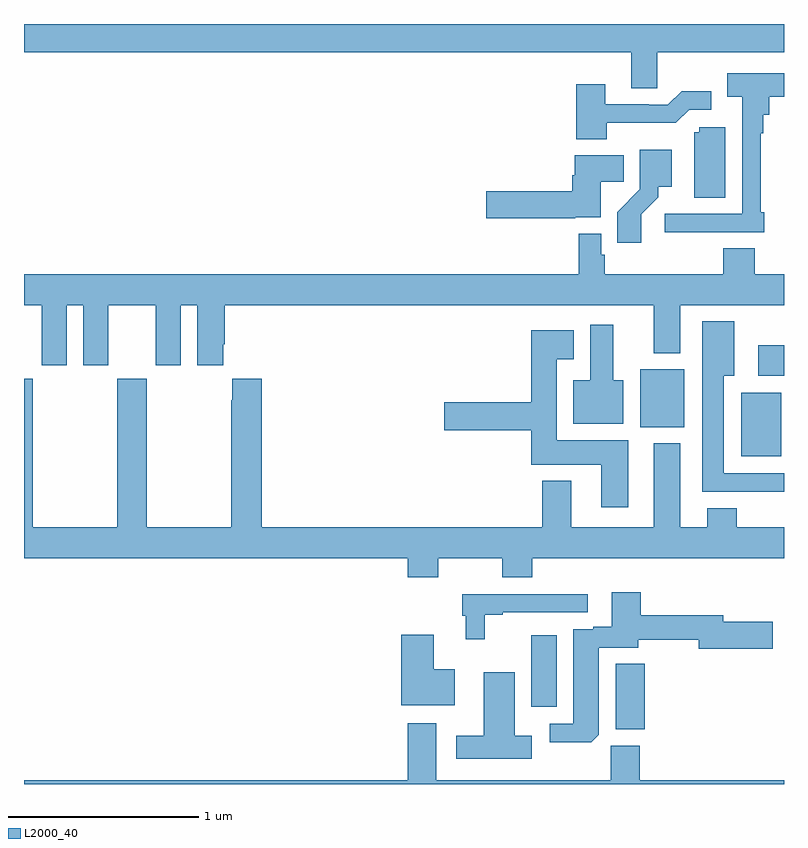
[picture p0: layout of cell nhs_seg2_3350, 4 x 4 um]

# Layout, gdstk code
import gdstk
lib = gdstk.Library(unit=1e-6, precision=1e-09)
def R(c, l, rs):  # rectangles x0, y0, x1, y1
    for r in rs: c.add(gdstk.rectangle(r[:2], r[2:], *l))
def P(c, l, *ps):  # polygons
    for p in ps: c.add(gdstk.Polygon(p, *l))
L2000_40 = (2000, 40)

nhs_seg2_3350 = lib.new_cell('nhs_seg2_3350')
R(nhs_seg2_3350, L2000_40, [(290.114,628.087,290.267,628.433), (289.67,628.206,289.804,628.582), (290.774,629.525,290.986,629.86), (290.243,629.678,290.476,629.983), (290.865,629.949,291,630.109)])
P(nhs_seg2_3350, L2000_40, [(290.334,631.652),(291,631.652),(291,631.8),(287,631.8),(287,631.652),(290.195,631.652),(290.195,631.462),(290.334,631.462)],
  [(290.597,630.705),(290.897,630.705),(290.897,630.808),(290.877,630.808),(290.877,631.226),(290.89,631.226),(290.89,631.322),(290.922,631.322),(290.922,631.418),(291,631.418),(291,631.54),(290.701,631.54),(290.701,631.418),(290.781,631.418),(290.781,630.801),(290.373,630.801),(290.373,630.703),(290.597,630.703)],
  [(290.067,631.28),(290.431,631.28),(290.502,631.35),(290.616,631.35),(290.616,631.447),(290.461,631.447),(290.388,631.374),(290.288,631.374),(290.288,631.377),(290.059,631.377),(290.059,631.483),(289.907,631.483),(289.907,631.193),(290.067,631.193)],
  [(290.692,631.257),(290.553,631.257),(290.553,631.23),(290.528,631.23),(290.528,630.886),(290.692,630.886)],
  [(290.248,630.799),(290.338,630.889),(290.338,630.944),(290.41,630.944),(290.41,631.138),(290.241,631.138),(290.241,630.929),(290.122,630.81),(290.122,630.648),(290.248,630.648)],
  [(289.902,630.782),(290.035,630.782),(290.035,630.97),(290.156,630.97),(290.156,631.108),(289.898,631.108),(289.898,631.004),(289.886,631.004),(289.886,630.92),(289.434,630.92),(289.434,630.778),(289.902,630.778)],
  [(287.224,630.32),(287.312,630.32),(287.312,630.003),(287.443,630.003),(287.443,630.32),(287.693,630.32),(287.693,630.003),(287.824,630.003),(287.824,630.32),(287.912,630.32),(287.912,630.003),(288.049,630.003),(288.049,630.115),(288.056,630.115),(288.056,630.32),(290.315,630.32),(290.315,630.068),(290.455,630.068),(290.455,630.32),(291,630.32),(291,630.484),(290.846,630.484),(290.846,630.62),(290.681,630.62),(290.681,630.484),(290.057,630.484),(290.057,630.585),(290.037,630.585),(290.037,630.697),(289.921,630.697),(289.921,630.484),(287,630.484),(287,630.32),(287.093,630.32),(287.093,630.003),(287.224,630.003)],
  [(291,629.436),(290.683,629.436),(290.683,629.948),(290.737,629.948),(290.737,630.235),(290.57,630.235),(290.57,629.339),(291,629.339)],
  [(290.155,629.926),(290.101,629.926),(290.101,630.217),(289.979,630.217),(289.979,629.926),(289.892,629.926),(289.892,629.696),(290.155,629.696)],
  [(290.179,629.608),(289.804,629.608),(289.804,630.035),(289.894,630.035),(289.894,630.187),(289.67,630.187),(289.67,629.81),(289.212,629.81),(289.212,629.663),(289.67,629.663),(289.67,629.48),(290.039,629.48),(290.039,629.256),(290.179,629.256)],
  [(289.179,628.988),(289.516,628.988),(289.516,628.889),(289.676,628.889),(289.676,628.988),(291,628.988),(291,629.152),(290.75,629.152),(290.75,629.251),(290.597,629.251),(290.597,629.152),(290.455,629.152),(290.455,629.593),(290.315,629.593),(290.315,629.152),(289.879,629.152),(289.879,629.395),(289.727,629.395),(289.727,629.152),(288.251,629.152),(288.251,629.932),(288.095,629.932),(288.095,629.819),(288.091,629.819),(288.091,629.152),(287.646,629.152),(287.646,629.932),(287.491,629.932),(287.491,629.152),(287.046,629.152),(287.046,629.932),(287,629.932),(287,628.988),(289.019,628.988),(289.019,628.889),(289.179,628.889)],
  [(290.026,628.06),(290.026,628.518),(290.233,628.518),(290.233,628.558),(290.552,628.558),(290.552,628.511),(290.941,628.511),(290.941,628.653),(290.68,628.653),(290.68,628.687),(290.246,628.687),(290.246,628.81),(290.093,628.81),(290.093,628.627),(289.997,628.627),(289.997,628.614),(289.892,628.614),(289.892,628.116),(289.767,628.116),(289.767,628.019),(289.985,628.019)],
  [(289.425,628.692),(289.519,628.692),(289.519,628.704),(289.966,628.704),(289.966,628.8),(289.306,628.8),(289.306,628.686),(289.325,628.686),(289.325,628.563),(289.425,628.563)],
  [(289.267,628.405),(289.156,628.405),(289.156,628.585),(288.986,628.585),(288.986,628.214),(289.267,628.214)],
  [(289.672,628.054),(289.582,628.054),(289.582,628.387),(289.421,628.387),(289.421,628.054),(289.275,628.054),(289.275,627.932),(289.672,627.932)],
  [(291,627.82),(290.24,627.82),(290.24,628.002),(290.089,628.002),(290.089,627.82),(289.171,627.82),(289.171,628.12),(289.019,628.12),(289.019,627.82),(287,627.82),(287,627.8),(291,627.8)])

lib.write_gds('nhs_seg2_3350.gds')
